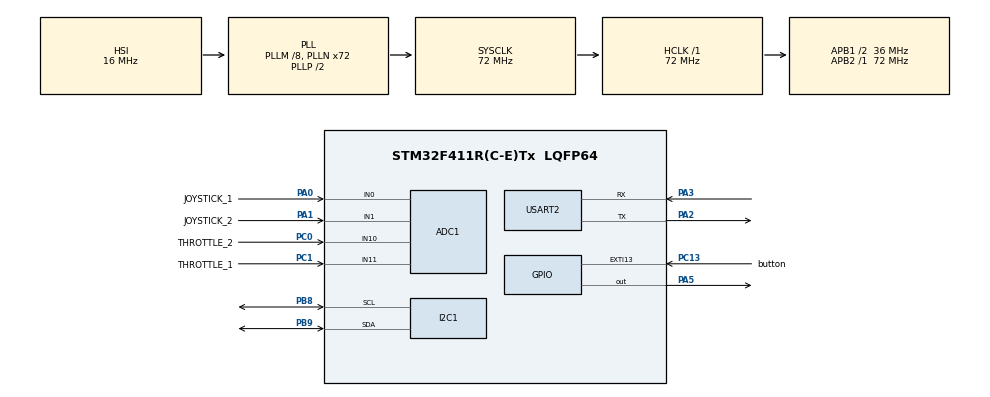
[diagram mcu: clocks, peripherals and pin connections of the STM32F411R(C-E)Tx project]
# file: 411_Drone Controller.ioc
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ADC1.Channel-0\#ChannelRegularConversion=ADC_CHANNEL_0
ADC1.Channel-1\#ChannelRegularConversion=ADC_CHANNEL_1
ADC1.Channel-2\#ChannelRegularConversion=ADC_CHANNEL_10
ADC1.Channel-3\#ChannelRegularConversion=ADC_CHANNEL_11
ADC1.DiscontinuousConvMode=ENABLE
ADC1.InjNumberOfConversion=0
ADC1.NbrOfConversion=4
ADC1.NbrOfConversionFlag=1
ADC1.Rank-0\#ChannelRegularConversion=1
ADC1.Rank-1\#ChannelRegularConversion=2
ADC1.Rank-2\#ChannelRegularConversion=3
ADC1.Rank-3\#ChannelRegularConversion=4
ADC1.SamplingTime-0\#ChannelRegularConversion=ADC_SAMPLETIME_56CYCLES
ADC1.SamplingTime-1\#ChannelRegularConversion=ADC_SAMPLETIME_56CYCLES
ADC1.SamplingTime-2\#ChannelRegularConversion=ADC_SAMPLETIME_56CYCLES
ADC1.SamplingTime-3\#ChannelRegularConversion=ADC_SAMPLETIME_56CYCLES
ADC1.ScanConvMode=ENABLE
ADC1.master=1
Mcu.Family=STM32F4
Mcu.Name=STM32F411R(C-E)Tx
Mcu.Package=LQFP64
NVIC.ADC_IRQn=true\:0\:0\:false\:false\:true\:true\:true
NVIC.EXTI15_10_IRQn=true\:0\:0\:false\:false\:true\:true\:true
NVIC.PriorityGroup=NVIC_PRIORITYGROUP_4
PA0-WKUP.GPIO_Label=JOYSTICK_1
PA0-WKUP.Signal=ADCx_IN0
PA1.GPIO_Label=JOYSTICK_2
PA1.Signal=ADCx_IN1
PA13.Mode=Serial_Wire
PA13.Signal=SYS_JTMS-SWDIO
PA14.Mode=Serial_Wire
PA14.Signal=SYS_JTCK-SWCLK
PA2.Mode=Asynchronous
PA2.Signal=USART2_TX
PA3.Mode=Asynchronous
PA3.Signal=USART2_RX
PA5.Signal=GPIO_Output
PB8.Mode=I2C
PB8.Signal=I2C1_SCL
PB9.Mode=I2C
PB9.Signal=I2C1_SDA
PC0.GPIO_Label=THROTTLE_2
PC0.Signal=ADCx_IN10
PC1.GPIO_Label=THROTTLE_1
PC1.Signal=ADCx_IN11
PC13-ANTI_TAMP.GPIO_Label=button
PC13-ANTI_TAMP.Signal=GPXTI13
PH0\ -\ OSC_IN.Mode=HSE-External-Oscillator
PH0\ -\ OSC_IN.Signal=RCC_OSC_IN
PH1\ -\ OSC_OUT.Mode=HSE-External-Oscillator
PH1\ -\ OSC_OUT.Signal=RCC_OSC_OUT
ProjectManager.HeapSize=0x2000
ProjectManager.StackSize=0x4000
ProjectManager.TargetToolchain=EWARM V8.32
RCC.48MHZClocksFreq_Value=36000000
RCC.AHBFreq_Value=72000000
RCC.APB1CLKDivider=RCC_HCLK_DIV2
RCC.APB1Freq_Value=36000000
RCC.APB1TimFreq_Value=72000000
RCC.APB2Freq_Value=72000000
RCC.APB2TimFreq_Value=72000000
RCC.CortexFreq_Value=72000000
RCC.HCLKFreq_Value=72000000
RCC.HSE_VALUE=25000000
RCC.HSI_VALUE=16000000
RCC.LSE_VALUE=32768
RCC.PLLM=8
RCC.PLLN=72
RCC.SYSCLKFreq_VALUE=72000000
RCC.SYSCLKSource=RCC_SYSCLKSOURCE_PLLCLK
RCC.VCOOutputFreq_Value=144000000
SH.ADCx_IN0.0=ADC1_IN0,IN0
SH.ADCx_IN1.0=ADC1_IN1,IN1
SH.ADCx_IN10.0=ADC1_IN10,IN10
SH.ADCx_IN11.0=ADC1_IN11,IN11
USART2.VirtualMode=VM_ASYNC
board=custom

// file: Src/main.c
/* USER CODE BEGIN Header */
/**
  ******************************************************************************
  * @file           : main.c
  * @brief          : Main program body
  ******************************************************************************
  * @attention
  *
  * <h2><center>&copy; Copyright (c) 2020 STMicroelectronics.
  * All rights reserved.</center></h2>
  *
  * This software component is licensed by ST under BSD 3-Clause license,
  * the "License"; You may not use this file except in compliance with the
  * License. You may obtain a copy of the License at:
  *                        opensource.org/licenses/BSD-3-Clause
  *
  ******************************************************************************
  */
/* USER CODE END Header */

#include "main.h"
#include "JOYSTICK.h"

/* USER CODE BEGIN Includes */
#include "i2c-lcd.h"
#include <string.h>
#include <stdio.h>
/* USER CODE END Includes */

/* USER CODE BEGIN PD */
//#define Debug_Mode_Flag      0
//#define Drive_Mode_Flag      1

/* USER CODE END PD */

ADC_HandleTypeDef hadc1;

I2C_HandleTypeDef hi2c1;

UART_HandleTypeDef huart2;

void SystemClock_Config(void);
static void MX_GPIO_Init(void);
static void MX_ADC1_Init(void);
static void MX_I2C1_Init(void);
static void MX_USART2_UART_Init(void);
/* USER CODE BEGIN PFP */
//char INPUT_THROTTLE();
//char INPUT_CONTORLLER();
//void Print_Mode(uint8_t* Mode_Flag);

/* USER CODE END PFP */

/* USER CODE BEGIN 0 */
/*============ VAL ADC====================*/
uint32_t ADC_DATA[4];
//uint8_t C_buffer[50];
//char str[20];
uint8_t button_flag=0;

/* USER CODE END 0 */

int main(void)
{
  /* USER CODE BEGIN 1 */
  uint8_t Mode_Flag = Debug_Mode_Flag;// START DEBUG MODE
  uint8_t buffer[10]={0};
  /* USER CODE END 1 */

  /* MCU Configuration--------------------------------------------------------*/

  /* Reset of all peripherals, Initializes the Flash interface and the Systick. */
  HAL_Init();

  /* Configure the system clock */
  SystemClock_Config();

  /* Initialize all configured peripherals */
  MX_GPIO_Init();
  MX_ADC1_Init();
  MX_I2C1_Init();
  MX_USART2_UART_Init();
  /* USER CODE BEGIN 2 */

  sprintf((char*)buffer,"HELLO\r\n");
  HAL_UART_Transmit(&huart2, buffer, sizeof(buffer),10);

  HAL_ADC_Start_IT(&hadc1);

  /* USER CODE END 2 */

  /* Infinite loop */
  while (1)
  {
    /* USER CODE BEGIN 3 */
/*========================DEBUG MODE===================*/

    if(button_flag)
    {
      if(Mode_Flag==Debug_Mode_Flag){
        Print_Mode(&Mode_Flag);
      }

      Print_ADC_DEBUG();
      HAL_Delay(50);

     }
/*========================DRIVE MODE===================*/

 else
    {
      if(Mode_Flag==Drive_Mode_Flag){
          Print_Mode(&Mode_Flag);
      }
      INPUT_CONTORLLER();
      INPUT_THROTTLE();
      HAL_Delay(100);
    }
  }
}

  /* USER CODE END 3 */

void SystemClock_Config(void)
{
  RCC_OscInitTypeDef RCC_OscInitStruct = {0};
  RCC_ClkInitTypeDef RCC_ClkInitStruct = {0};

  /** Configure the main internal regulator output voltage
  */
  __HAL_RCC_PWR_CLK_ENABLE();
  __HAL_PWR_VOLTAGESCALING_CONFIG(PWR_REGULATOR_VOLTAGE_SCALE1);
  /** Initializes the CPU, AHB and APB busses clocks
  */
  RCC_OscInitStruct.OscillatorType = RCC_OSCILLATORTYPE_HSI;
  RCC_OscInitStruct.HSIState = RCC_HSI_ON;
  RCC_OscInitStruct.HSICalibrationValue = RCC_HSICALIBRATION_DEFAULT;
  RCC_OscInitStruct.PLL.PLLState = RCC_PLL_ON;
  RCC_OscInitStruct.PLL.PLLSource = RCC_PLLSOURCE_HSI;
  RCC_OscInitStruct.PLL.PLLM = 8;
  RCC_OscInitStruct.PLL.PLLN = 72;
  RCC_OscInitStruct.PLL.PLLP = RCC_PLLP_DIV2;
  RCC_OscInitStruct.PLL.PLLQ = 4;
  if (HAL_RCC_OscConfig(&RCC_OscInitStruct) != HAL_OK)
  {
    Error_Handler();
  }
  /** Initializes the CPU, AHB and APB busses clocks
  */
  RCC_ClkInitStruct.ClockType = RCC_CLOCKTYPE_HCLK|RCC_CLOCKTYPE_SYSCLK
                              |RCC_CLOCKTYPE_PCLK1|RCC_CLOCKTYPE_PCLK2;
  RCC_ClkInitStruct.SYSCLKSource = RCC_SYSCLKSOURCE_PLLCLK;
  RCC_ClkInitStruct.AHBCLKDivider = RCC_SYSCLK_DIV1;
  RCC_ClkInitStruct.APB1CLKDivider = RCC_HCLK_DIV2;
  RCC_ClkInitStruct.APB2CLKDivider = RCC_HCLK_DIV1;

  if (HAL_RCC_ClockConfig(&RCC_ClkInitStruct, FLASH_LATENCY_2) != HAL_OK)
  {
    Error_Handler();
  }
}

static void MX_ADC1_Init(void)
{

  ADC_ChannelConfTypeDef sConfig = {0};

  /** Configure the global features of the ADC (Clock, Resolution, Data Alignment and number of conversion)
  */
  hadc1.Instance = ADC1;
  hadc1.Init.ClockPrescaler = ADC_CLOCK_SYNC_PCLK_DIV2;
  hadc1.Init.Resolution = ADC_RESOLUTION_12B;
  hadc1.Init.ScanConvMode = ENABLE;
  hadc1.Init.ContinuousConvMode = DISABLE;
  hadc1.Init.DiscontinuousConvMode = ENABLE;
  hadc1.Init.NbrOfDiscConversion = 1;
  hadc1.Init.ExternalTrigConvEdge = ADC_EXTERNALTRIGCONVEDGE_NONE;
  hadc1.Init.ExternalTrigConv = ADC_SOFTWARE_START;
  hadc1.Init.DataAlign = ADC_DATAALIGN_RIGHT;
  hadc1.Init.NbrOfConversion = 4;
  hadc1.Init.DMAContinuousRequests = DISABLE;
  hadc1.Init.EOCSelection = ADC_EOC_SINGLE_CONV;
  if (HAL_ADC_Init(&hadc1) != HAL_OK)
  {
    Error_Handler();
  }
  /** Configure for the selected ADC regular channel its corresponding rank in the sequencer and its sample time.
  */
  sConfig.Channel = ADC_CHANNEL_0;
  sConfig.Rank = 1;
  sConfig.SamplingTime = ADC_SAMPLETIME_56CYCLES;
  if (HAL_ADC_ConfigChannel(&hadc1, &sConfig) != HAL_OK)
  {
    Error_Handler();
  }
  /** Configure for the selected ADC regular channel its corresponding rank in the sequencer and its sample time.
  */
  sConfig.Channel = ADC_CHANNEL_1;
  sConfig.Rank = 2;
  if (HAL_ADC_ConfigChannel(&hadc1, &sConfig) != HAL_OK)
  {
    Error_Handler();
  }
  /** Configure for the selected ADC regular channel its corresponding rank in the sequencer and its sample time.
  */
  sConfig.Channel = ADC_CHANNEL_10;
  sConfig.Rank = 3;
  if (HAL_ADC_ConfigChannel(&hadc1, &sConfig) != HAL_OK)
  {
    Error_Handler();
  }
  /** Configure for the selected ADC regular channel its corresponding rank in the sequencer and its sample time.
  */
  sConfig.Channel = ADC_CHANNEL_11;
  sConfig.Rank = 4;
  if (HAL_ADC_ConfigChannel(&hadc1, &sConfig) != HAL_OK)
  {
    Error_Handler();
  }

}

static void MX_I2C1_Init(void)
{

  hi2c1.Instance = I2C1;
  hi2c1.Init.ClockSpeed = 100000;
  hi2c1.Init.DutyCycle = I2C_DUTYCYCLE_2;
  hi2c1.Init.OwnAddress1 = 0;
  hi2c1.Init.AddressingMode = I2C_ADDRESSINGMODE_7BIT;
  hi2c1.Init.DualAddressMode = I2C_DUALADDRESS_DISABLE;
  hi2c1.Init.OwnAddress2 = 0;
  hi2c1.Init.GeneralCallMode = I2C_GENERALCALL_DISABLE;
  hi2c1.Init.NoStretchMode = I2C_NOSTRETCH_DISABLE;
  if (HAL_I2C_Init(&hi2c1) != HAL_OK)
  {
    Error_Handler();
  }

}

static void MX_USART2_UART_Init(void)
{

  huart2.Instance = USART2;
  huart2.Init.BaudRate = 115200;
  huart2.Init.WordLength = UART_WORDLENGTH_8B;
  huart2.Init.StopBits = UART_STOPBITS_1;
  huart2.Init.Parity = UART_PARITY_NONE;
  huart2.Init.Mode = UART_MODE_TX_RX;
  huart2.Init.HwFlowCtl = UART_HWCONTROL_NONE;
  huart2.Init.OverSampling = UART_OVERSAMPLING_16;
  if (HAL_UART_Init(&huart2) != HAL_OK)
  {
    Error_Handler();
  }

}

static void MX_GPIO_Init(void)
{
  GPIO_InitTypeDef GPIO_InitStruct = {0};

  /* GPIO Ports Clock Enable */
  __HAL_RCC_GPIOC_CLK_ENABLE();
  __HAL_RCC_GPIOH_CLK_ENABLE();
  __HAL_RCC_GPIOA_CLK_ENABLE();
  __HAL_RCC_GPIOB_CLK_ENABLE();

  /*Configure GPIO pin Output Level */
  HAL_GPIO_WritePin(GPIOA, GPIO_PIN_5, GPIO_PIN_RESET);

  /*Configure GPIO pin : button_Pin */
  GPIO_InitStruct.Pin = button_Pin;
  GPIO_InitStruct.Mode = GPIO_MODE_IT_RISING;
  GPIO_InitStruct.Pull = GPIO_NOPULL;
  HAL_GPIO_Init(button_GPIO_Port, &GPIO_InitStruct);

  /*Configure GPIO pin : PA5 */
  GPIO_InitStruct.Pin = GPIO_PIN_5;
  GPIO_InitStruct.Mode = GPIO_MODE_OUTPUT_PP;
  GPIO_InitStruct.Pull = GPIO_NOPULL;
  GPIO_InitStruct.Speed = GPIO_SPEED_FREQ_LOW;
  HAL_GPIO_Init(GPIOA, &GPIO_InitStruct);

  /* EXTI interrupt init*/
  HAL_NVIC_SetPriority(EXTI15_10_IRQn, 0, 0);
  HAL_NVIC_EnableIRQ(EXTI15_10_IRQn);

}

/* USER CODE BEGIN 4 */

/*==================ADC CALLBACK===================*/
void HAL_ADC_ConvCpltCallback(ADC_HandleTypeDef* hadc)
{
   static uint8_t adc_count;

   ADC_DATA[adc_count] = HAL_ADC_GetValue(hadc);
   adc_count++;

   if(adc_count >3)
   {
     adc_count=0;
   }

    HAL_ADC_Start_IT(&hadc1);
}

/*=================GPIO CALLBACK===================*/
 void HAL_GPIO_EXTI_Callback(uint16_t GPIO_Pin)
 {
    static uint32_t temp;// debounce time
   if(GPIO_Pin==button_Pin)
   {
     if((HAL_GetTick()-temp)>100)
     {
       button_flag = !button_flag;
     }
   }
      while(HAL_GPIO_ReadPin(GPIOC, GPIO_PIN_13)==GPIO_PIN_RESET);
      temp = HAL_GetTick();
 }

/* USER CODE END 4 */

void Error_Handler(void)
{
}

/************************ (C) COPYRIGHT STMicroelectronics *****END OF FILE****/
